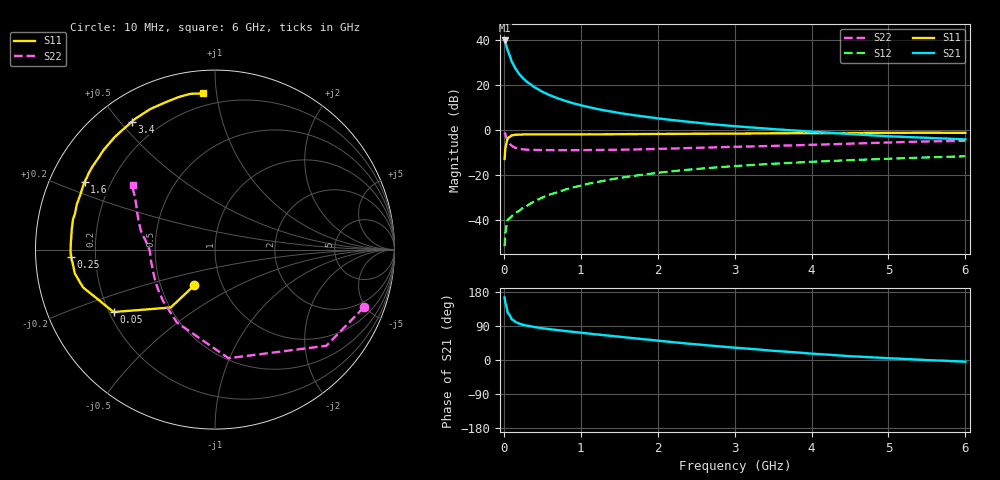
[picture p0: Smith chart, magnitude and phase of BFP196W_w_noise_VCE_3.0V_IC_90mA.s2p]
! (c) 2017  Infineon Technologies AG, Munich
! Infineon Technologies  Discrete & RF Semiconductors
! BFP196W
! VCE =  3.0 V,  IC =  90 mA
! Common Emitter S-Parameters:  Jan 2017
# GHz  S  MA  R  50
!  f  S11  S21  S12  S22
! GHz  MAG  ANG  MAG  ANG  MAG  ANG  MAG  ANG
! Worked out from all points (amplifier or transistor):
!   77 points, 10 MHz to 6 GHz, reference 50 ohm
!   highest |S21| = 39.7 dB at 10 MHz (marker M1)
!   |S21| within 3 dB of that: start of sweep to 37.67 MHz
!   unconditionally stable (mu >= 1): 469 MHz to 3.338 GHz
!   at 130 MHz: K = 0.60, MSG = 33.0 dB, |S12| = -37.2 dB
!   at 2.2 GHz: K = 1.04, MAG = 10.1 dB, |S12| = -18.2 dB
!   at 6 GHz: K = 0.97, MSG = 3.7 dB, |S12| = -11.5 dB
!   lowest NFmin = 1.78 dB at 450 MHz
!   S11 on the Smith chart (normalised r, x): 10 MHz: 0.74, -0.31; 50 MHz: 0.22, -0.27; 250 MHz: 0.11, -0.02; 1.6 GHz: 0.11, +0.24; 3.4 GHz: 0.10, +0.54; 6 GHz: 0.13, +0.92
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0.01  0.2299 -120.0  97.05 164.9  0.0027 72.5  0.8894 -21.2
0.02  0.4059 -127.4  87.97 150.6  0.0053 66.2  0.8198 -40.8
0.05  0.6637 -148.4  58.3 124.6  0.0103 48.6  0.6098 -82.9
0.1  0.7652 -164.1  33.6 107.7  0.0123 45.9  0.4586 -117.5
0.15  0.7922 -170.3  23.14 100.5  0.0148 47.9  0.4074 -135.2
0.2  0.7963 -174.4  17.51 96.0  0.0163 52.3  0.3871 -145.1
0.25  0.8032 -177.2  14.07 92.8  0.0193 56.8  0.3764 -152.0
0.3  0.8049 -179.4  11.75 90.6  0.0211 57.8  0.37 -156.5
0.4  0.8042 177.3  8.861 86.8  0.0267 62.3  0.3644 -162.6
0.5  0.8039 174.6  7.092 83.8  0.0322 65.7  0.3621 -166.6
0.6  0.806 172.1  5.923 81.2  0.0378 66.5  0.3625 -169.4
0.7  0.8067 170.2  5.079 79.0  0.0422 67.2  0.3605 -171.5
0.9  0.8054 165.8  3.947 74.2  0.054 67.1  0.3614 -174.7
1.1  0.8102 161.9  3.251 69.9  0.0654 66.9  0.3628 -177.1
1.3  0.8099 158.1  2.757 65.6  0.0758 66.2  0.3648 -179.4
1.6  0.8183 152.6  2.263 59.3  0.0922 63.6  0.3713 177.5
2.1  0.8253 143.4  1.747 49.1  0.1186 58.9  0.3888 172.9
3.1  0.8429 127.4  1.19 31.0  0.164 48.9  0.4321 164.2
3.4  0.8502 123.0  1.089 26.1  0.1763 46.3  0.4445 161.5
4.1  0.8622 113.4  0.906 15.6  0.2028 39.7  0.4792 154.7
5.1  0.8742 102.6  0.721 3.8  0.2362 31.4  0.5398 146.1
6  0.8732 94.5  0.625 -4.5  0.2647 24.2  0.579 141.7
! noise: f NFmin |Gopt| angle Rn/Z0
0.45  1.78  0.58  -175  0.06
0.9  1.93  0.6  -168  0.08
1.9  2.83  0.71  -147  0.22
2.4  3.27  0.75  -142  0.36
